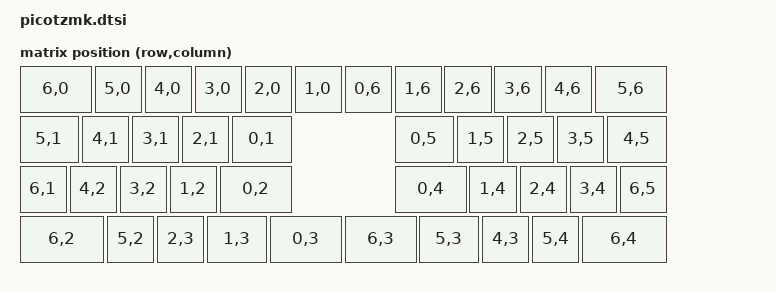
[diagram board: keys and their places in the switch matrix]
#include <dt-bindings/zmk/matrix_transform.h>
#include <dt-bindings/zmk/bt.h>
#include <physical_layouts.dtsi>


/ {
    chosen {
        zmk,kscan = &kscan0;
        zmk,matrix-transform = &default_transform;
    };

    physical_layout0: physical_layout_0 {
        compatible = "zmk,physical-layout";
        display-name = "Default";
        transform = <&default_transform>;
        kscan = <&kscan0>;

        keys  //                     w   h    x    y     rot    rx    ry
            = <&key_physical_attrs 150 100    0    0       0     0     0>
            , <&key_physical_attrs 100 100  150    0       0     0     0>
            , <&key_physical_attrs 100 100  250    0       0     0     0>
            , <&key_physical_attrs 100 100  350    0       0     0     0>
            , <&key_physical_attrs 100 100  450    0       0     0     0>
            , <&key_physical_attrs 100 100  550    0       0     0     0>
            , <&key_physical_attrs 100 100  650    0       0     0     0>
            , <&key_physical_attrs 100 100  750    0       0     0     0>
            , <&key_physical_attrs 100 100  850    0       0     0     0>
            , <&key_physical_attrs 100 100  950    0       0     0     0>
            , <&key_physical_attrs 100 100 1050    0       0     0     0>
            , <&key_physical_attrs 150 100 1150    0       0     0     0>
            , <&key_physical_attrs 125 100    0  100       0     0     0>
            , <&key_physical_attrs 100 100  125  100       0     0     0>
            , <&key_physical_attrs 100 100  225  100       0     0     0>
            , <&key_physical_attrs 100 100  325  100       0     0     0>
            , <&key_physical_attrs 125 100  425  100       0     0     0>
            , <&key_physical_attrs 125 100  750  100       0     0     0>
            , <&key_physical_attrs 100 100  875  100       0     0     0>
            , <&key_physical_attrs 100 100  975  100       0     0     0>
            , <&key_physical_attrs 100 100 1075  100       0     0     0>
            , <&key_physical_attrs 125 100 1175  100       0     0     0>
            , <&key_physical_attrs 100 100    0  200       0     0     0>
            , <&key_physical_attrs 100 100  100  200       0     0     0>
            , <&key_physical_attrs 100 100  200  200       0     0     0>
            , <&key_physical_attrs 100 100  300  200       0     0     0>
            , <&key_physical_attrs 150 100  400  200       0     0     0>
            , <&key_physical_attrs 150 100  750  200       0     0     0>
            , <&key_physical_attrs 100 100  900  200       0     0     0>
            , <&key_physical_attrs 100 100 1000  200       0     0     0>
            , <&key_physical_attrs 100 100 1100  200       0     0     0>
            , <&key_physical_attrs 100 100 1200  200       0     0     0>
            , <&key_physical_attrs 175 100    0  300       0     0     0>
            , <&key_physical_attrs 100 100  175  300       0     0     0>
            , <&key_physical_attrs 100 100  275  300       0     0     0>
            , <&key_physical_attrs 125 100  375  300       0     0     0>
            , <&key_physical_attrs 150 100  500  300       0     0     0>
            , <&key_physical_attrs 150 100  650  300       0     0     0>
            , <&key_physical_attrs 125 100  800  300       0     0     0>
            , <&key_physical_attrs 100 100  925  300       0     0     0>
            , <&key_physical_attrs 100 100 1025  300       0     0     0>
            , <&key_physical_attrs 175 100 1125  300       0     0     0>
            ;
    };

    kscan0: kscan {
        compatible = "zmk,kscan-gpio-charlieplex";
        wakeup-source;

        interrupt-gpios = <&pro_micro 0 (GPIO_ACTIVE_HIGH | GPIO_PULL_DOWN) >;
        gpios
          = <&pro_micro 14 GPIO_ACTIVE_HIGH>
          , <&pro_micro 16 GPIO_ACTIVE_HIGH>
          , <&pro_micro 15 GPIO_ACTIVE_HIGH>
          , <&pro_micro 18 GPIO_ACTIVE_HIGH>
          , <&pro_micro 8 GPIO_ACTIVE_HIGH>
          , <&pro_micro 7 GPIO_ACTIVE_HIGH>
          , <&pro_micro 6 GPIO_ACTIVE_HIGH>
          ; // addressable space is 5x5, (minus paired values)
    };

    default_transform: matrix_transform {
        compatible = "zmk,matrix-transform";
        rows = <7>;
        columns = <7>;
    
        map = <
            RC(6,0) RC(5,0) RC(4,0) RC(3,0) RC(2,0) RC(1,0) RC(0,6) RC(1,6) RC(2,6) RC(3,6) RC(4,6) RC(5,6) 
            RC(5,1) RC(4,1) RC(3,1) RC(2,1) RC(0,1)                 RC(0,5) RC(1,5) RC(2,5) RC(3,5) RC(4,5) 
            RC(6,1) RC(4,2) RC(3,2) RC(1,2) RC(0,2)                 RC(0,4) RC(1,4) RC(2,4) RC(3,4) RC(6,5)
            RC(6,2) RC(5,2) RC(2,3) RC(1,3) RC(0,3)                 RC(6,3) RC(5,3) RC(4,3) RC(5,4) RC(6,4) 
        >;
    };
};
